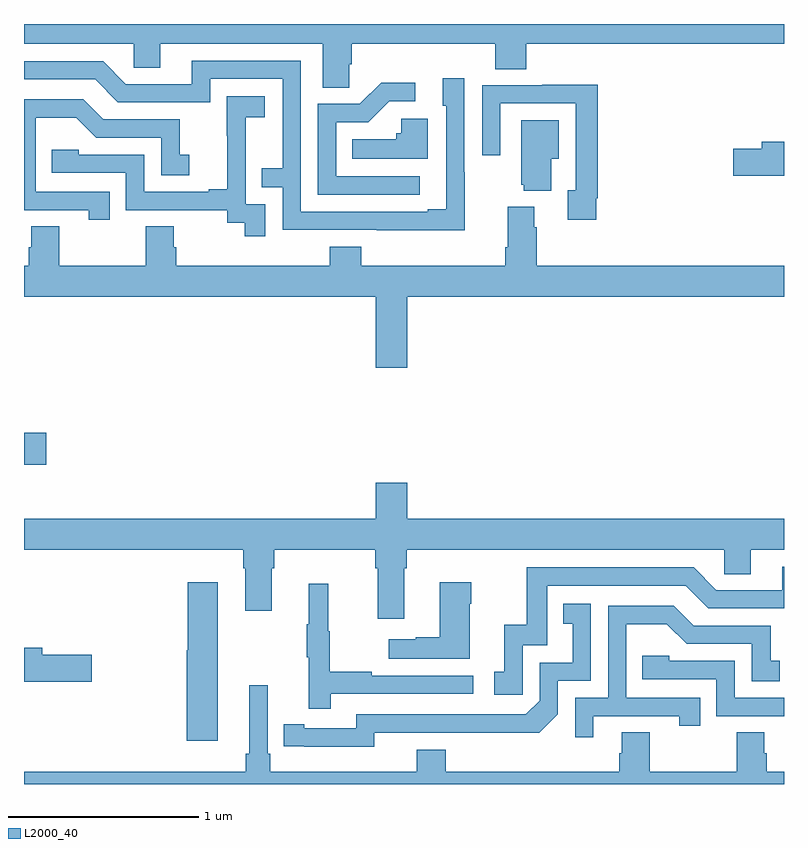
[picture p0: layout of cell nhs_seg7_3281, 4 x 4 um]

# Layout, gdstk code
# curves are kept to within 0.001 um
import gdstk
lib = gdstk.Library(unit=1e-6, precision=1e-09)
def R(c, l, rs):  # rectangles x0, y0, x1, y1
    for r in rs: c.add(gdstk.rectangle(r[:2], r[2:], *l))
def P(c, l, *ps):  # polygons
    for p in ps: c.add(gdstk.Polygon(p, *l))
L2000_40 = (2000, 40)

nhs_seg7_3281 = lib.new_cell('nhs_seg7_3281')
R(nhs_seg7_3281, L2000_40, [(319,1051.679,319.117,1051.85)])
P(nhs_seg7_3281, L2000_40, [(319,1053.896),(319.578,1053.896),(319.578,1053.769),(319.717,1053.769),(319.717,1053.896),(320.573,1053.896),(320.573,1053.664),(320.712,1053.664),(320.712,1053.787),(320.726,1053.787),(320.726,1053.896),(321.479,1053.896),(321.479,1053.763),(321.644,1053.763),(321.644,1053.896),(323,1053.896),(323,1054),(319,1054)],
  [(321.321,1053.221),(321.318,1053.221),(321.318,1053.715),(321.203,1053.715),(321.203,1053.57),(321.222,1053.57),(321.222,1053.025),(321.125,1053.025),(321.125,1053.012),(320.457,1053.012),(320.457,1053.807),(319.883,1053.807),(319.883,1053.684),(319.536,1053.684),(319.416,1053.804),(319,1053.804),(319,1053.708),(319.374,1053.708),(319.494,1053.588),(319.98,1053.588),(319.98,1053.711),(320.361,1053.711),(320.361,1053.242),(320.251,1053.242),(320.251,1053.141),(320.361,1053.141),(320.361,1052.916),(321.321,1052.915)],
  [(321.082,1053.198),(320.643,1053.198),(320.643,1053.483),(320.812,1053.483),(320.923,1053.594),(321.058,1053.594),(321.058,1053.692),(320.879,1053.692),(320.766,1053.579),(320.547,1053.579),(320.547,1053.102),(321.082,1053.102)],
  [(322.012,1053.082),(322.019,1053.082),(322.019,1053.68),(321.727,1053.68),(321.727,1053.678),(321.411,1053.678),(321.411,1053.309),(321.507,1053.309),(321.507,1053.582),(321.903,1053.582),(321.903,1053.126),(321.863,1053.126),(321.863,1052.97),(322.012,1052.97)],
  [(320.271,1053.051),(320.166,1053.051),(320.166,1053.281),(320.168,1053.281),(320.168,1053.509),(320.266,1053.509),(320.266,1053.619),(320.068,1053.619),(320.068,1053.413),(320.069,1053.413),(320.069,1053.13),(319.973,1053.13),(319.973,1053.117),(319.632,1053.117),(319.632,1053.312),(319.287,1053.312),(319.287,1053.339),(319.147,1053.339),(319.147,1053.216),(319.536,1053.216),(319.536,1053.021),(320.07,1053.021),(320.07,1052.953),(320.163,1052.953),(320.163,1052.883),(320.271,1052.883)],
  [(319.451,1053.117),(319.062,1053.117),(319.062,1053.506),(319.276,1053.506),(319.38,1053.402),(319.722,1053.402),(319.722,1053.204),(319.87,1053.204),(319.87,1053.313),(319.821,1053.313),(319.821,1053.498),(319.417,1053.498),(319.312,1053.603),(319,1053.603),(319,1053.021),(319.34,1053.021),(319.34,1052.97),(319.451,1052.97)],
  [(321.124,1053.502),(320.985,1053.502),(320.985,1053.426),(320.959,1053.426),(320.959,1053.394),(320.728,1053.394),(320.728,1053.29),(321.124,1053.29)],
  [(321.775,1053.29),(321.814,1053.29),(321.814,1053.493),(321.617,1053.493),(321.617,1053.153),(321.629,1053.153),(321.629,1053.122),(321.775,1053.122)],
  [(323,1053.38),(322.883,1053.38),(322.883,1053.344),(322.734,1053.344),(322.734,1053.202),(323,1053.202)],
  [(321.016,1052.564),(323,1052.564),(323,1052.728),(321.698,1052.728),(321.698,1052.93),(321.685,1052.93),(321.685,1053.037),(321.545,1053.037),(321.545,1052.824),(321.533,1052.824),(321.533,1052.728),(320.774,1052.728),(320.774,1052.827),(320.609,1052.827),(320.609,1052.728),(319.802,1052.728),(319.802,1052.826),(319.789,1052.826),(319.789,1052.936),(319.642,1052.936),(319.642,1052.728),(319.185,1052.728),(319.185,1052.936),(319.037,1052.936),(319.037,1052.826),(319.025,1052.826),(319.025,1052.728),(319,1052.728),(319,1052.564),(320.852,1052.564),(320.852,1052.19),(321.016,1052.19)],
  [(321.001,1051.136),(321.014,1051.136),(321.014,1051.232),(322.686,1051.232),(322.686,1051.105),(322.825,1051.105),(322.825,1051.232),(323,1051.232),(323,1051.396),(321.016,1051.396),(321.016,1051.585),(320.852,1051.585),(320.852,1051.396),(319,1051.396),(319,1051.232),(320.153,1051.232),(320.153,1051.136),(320.165,1051.136),(320.165,1050.912),(320.305,1050.912),(320.305,1051.136),(320.318,1051.136),(320.318,1051.232),(320.849,1051.232),(320.849,1051.136),(320.861,1051.136),(320.861,1050.87),(321.001,1050.87)],
  [(321.624,1050.729),(321.753,1050.729),(321.753,1051.044),(322.482,1051.044),(322.602,1050.924),(323,1050.924),(323,1051.143),(322.991,1051.143),(322.991,1051.02),(322.644,1051.02),(322.524,1051.14),(321.645,1051.14),(321.645,1050.838),(321.527,1050.838),(321.527,1050.591),(321.474,1050.591),(321.474,1050.471),(321.624,1050.471)],
  [(320.02,1051.063),(319.862,1051.063),(319.862,1050.705),(319.856,1050.705),(319.856,1050.228),(320.02,1050.228)],
  [(321.346,1050.95),(321.354,1050.95),(321.354,1051.063),(321.188,1051.063),(321.188,1050.773),(321.062,1050.773),(321.062,1050.763),(320.919,1050.763),(320.919,1050.659),(321.346,1050.659)],
  [(320.615,1050.474),(321.364,1050.474),(321.364,1050.57),(320.831,1050.57),(320.831,1050.59),(320.608,1050.59),(320.608,1050.804),(320.6,1050.804),(320.6,1051.054),(320.498,1051.054),(320.498,1050.841),(320.487,1050.841),(320.487,1050.667),(320.498,1050.667),(320.498,1050.396),(320.615,1050.396)],
  [(320.844,1050.27),(321.712,1050.269),(321.81,1050.366),(321.81,1050.543),(321.984,1050.543),(321.984,1050.949),(321.838,1050.949),(321.838,1050.843),(321.887,1050.843),(321.887,1050.639),(321.714,1050.639),(321.714,1050.438),(321.642,1050.366),(320.748,1050.366),(320.748,1050.294),(320.476,1050.294),(320.476,1050.314),(320.368,1050.314),(320.368,1050.198),(320.844,1050.197)],
  [(321.997,1050.357),(322.448,1050.357),(322.448,1050.306),(322.559,1050.306),(322.559,1050.453),(322.17,1050.453),(322.17,1050.842),(322.384,1050.842),(322.488,1050.738),(322.83,1050.738),(322.83,1050.54),(322.978,1050.54),(322.978,1050.649),(322.929,1050.649),(322.929,1050.834),(322.525,1050.834),(322.42,1050.939),(322.074,1050.939),(322.074,1050.453),(321.9,1050.453),(321.9,1050.246),(321.997,1050.246)],
  [(319.357,1050.68),(319.096,1050.68),(319.096,1050.716),(319,1050.716),(319,1050.538),(319.357,1050.538)],
  [(323,1050.453),(322.74,1050.453),(322.74,1050.648),(322.395,1050.648),(322.395,1050.675),(322.255,1050.675),(322.255,1050.552),(322.644,1050.552),(322.644,1050.357),(323,1050.357)],
  [(323,1050.064),(322.91,1050.064),(322.91,1050.162),(322.897,1050.162),(322.897,1050.272),(322.75,1050.272),(322.75,1050.064),(322.293,1050.064),(322.293,1050.272),(322.145,1050.272),(322.145,1050.162),(322.133,1050.162),(322.133,1050.064),(321.221,1050.064),(321.221,1050.181),(321.068,1050.181),(321.068,1050.064),(320.297,1050.064),(320.297,1050.16),(320.283,1050.16),(320.283,1050.52),(320.186,1050.52),(320.186,1050.16),(320.167,1050.16),(320.167,1050.064),(319,1050.064),(319,1050),(323,1050)])

lib.write_gds('nhs_seg7_3281.gds')
